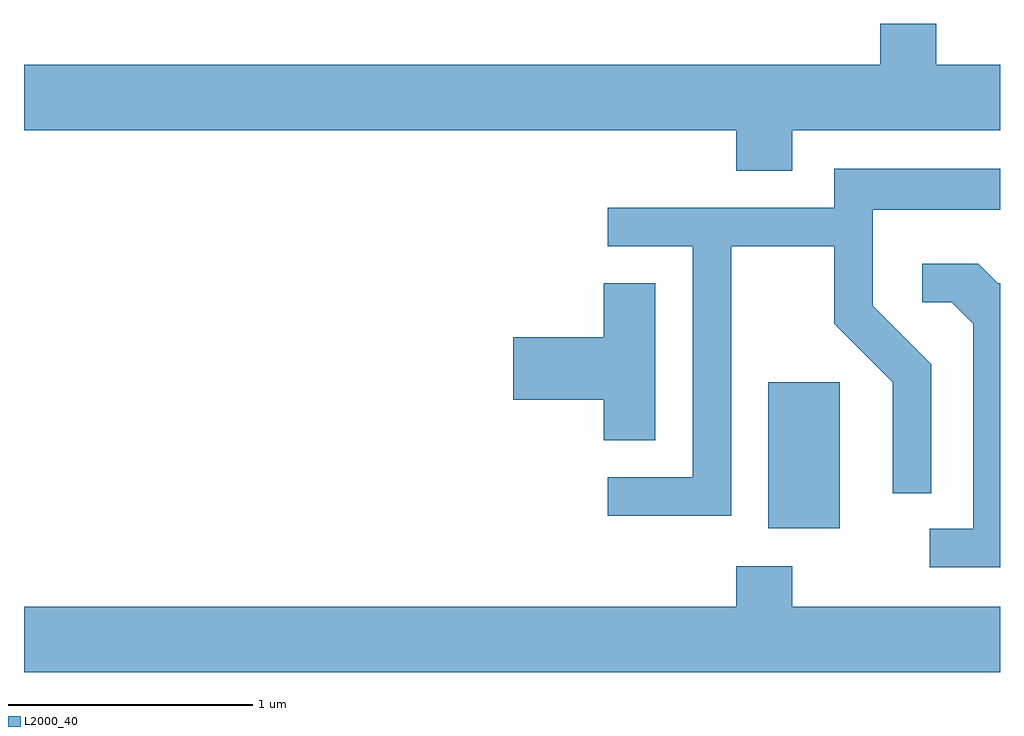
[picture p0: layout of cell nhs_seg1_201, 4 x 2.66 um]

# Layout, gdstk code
import gdstk
lib = gdstk.Library(unit=1e-6, precision=1e-09)
def R(c, l, rs):  # rectangles x0, y0, x1, y1
    for r in rs: c.add(gdstk.rectangle(r[:2], r[2:], *l))
def P(c, l, *ps):  # polygons
    for p in ps: c.add(gdstk.Polygon(p, *l))
L2000_40 = (2000, 40)

nhs_seg1_201 = lib.new_cell('nhs_seg1_201')
R(nhs_seg1_201, L2000_40, [(192.661,975.646,192.954,976.244)])
P(nhs_seg1_201, L2000_40, [(192.759,977.276),(193.611,977.276),(193.611,977.544),(193.349,977.544),(193.349,977.712),(193.121,977.712),(193.121,977.544),(189.611,977.544),(189.611,977.276),(192.531,977.276),(192.531,977.111),(192.759,977.111)],
  [(192.509,976.801),(192.931,976.801),(192.931,976.484),(193.171,976.244),(193.171,975.788),(193.329,975.788),(193.329,976.317),(193.089,976.557),(193.089,976.951),(193.611,976.951),(193.611,977.119),(192.931,977.119),(192.931,976.959),(192.003,976.959),(192.003,976.801),(192.351,976.801),(192.351,975.854),(192.003,975.854),(192.003,975.696),(192.509,975.696)],
  [(193.611,976.649),(193.602,976.649),(193.522,976.729),(193.293,976.729),(193.293,976.571),(193.414,976.571),(193.501,976.484),(193.501,975.644),(193.323,975.644),(193.323,975.486),(193.611,975.486)],
  [(192.199,976.649),(191.986,976.649),(191.986,976.429),(191.616,976.429),(191.616,976.171),(191.986,976.171),(191.986,976.006),(192.199,976.006)],
  [(193.611,975.324),(192.759,975.324),(192.759,975.489),(192.531,975.489),(192.531,975.324),(189.611,975.324),(189.611,975.056),(193.611,975.056)])

lib.write_gds('nhs_seg1_201.gds')
